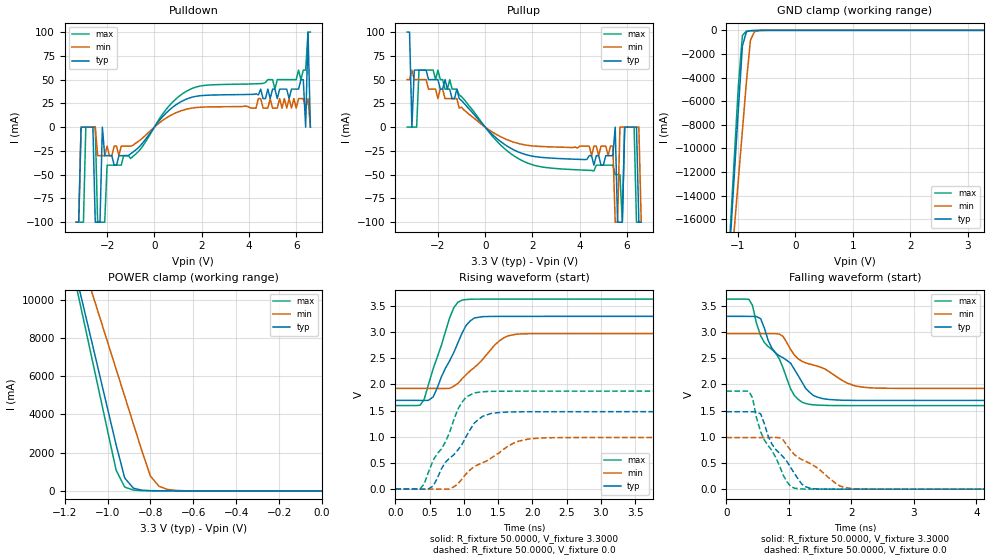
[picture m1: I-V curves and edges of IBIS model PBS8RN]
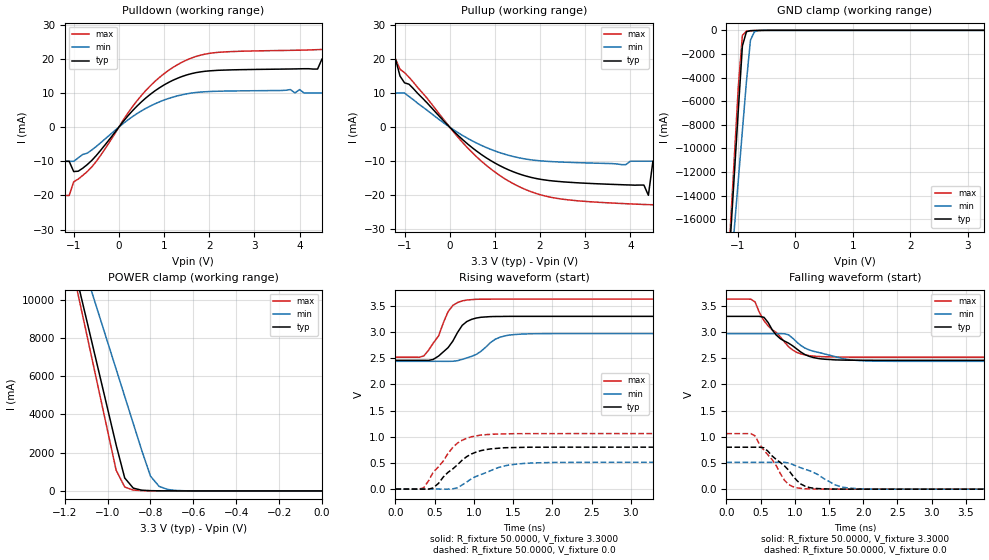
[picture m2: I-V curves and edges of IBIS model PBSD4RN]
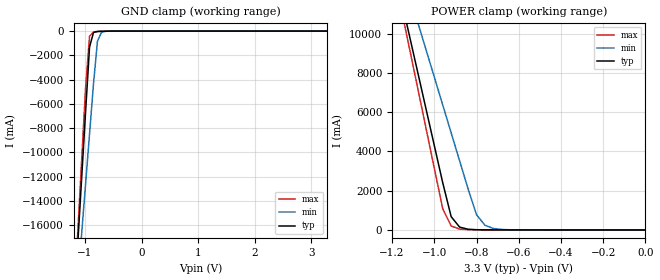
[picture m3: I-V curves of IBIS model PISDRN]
| IBIS file hi3520dv100.ibs
[IBIS ver]   4.0
[File name]   hi3520dv100.ibs
[File Rev]   1.0
[Date]   07/04/2013
[Source]   HISILICON TECHNOLOGIES CO., LTD.
[Notes]   1.Temperatures: typ=25C, min=125C, max=-40C
|Version statement: update ddr io model
|   RRmp rates based on 50 ohm load.
|[Disclaimer]   HISILICON TECHNOLOGIES CO., LTD. hereby grants the
|*   user of this IBIS model a non-exclusive, nontransferable
|*   license to use this IBIS model under the following terms.
|*   The user is granted this license only to use the IBIS model
|*   and is not granted rights to sell, copy (except as needed to
|*   run the IBIS model), rent, lease or sub-license the IBIS
|*   model in whole or in part, or in modified form to anyone. The
|*   User may modify the IBIS model to suit its specific applicati
|*   ons, but rights to derivative works and such modifications sh
|*   all belong to Hisilicon. This IBIS model is provided on an
|*   "ASIS" basis and Hisilicon  makes absolutely no warranty with
|*   respect to the information contained herein. HISILICON DISCLAI
|*   MS AND CUSTOMER WAIVES ALL WARRANTIES, EXPRESS AND IMPLIED, IN
|*   CLUDING WARRANTIES OF MERCHANTABILITY AND FITNESS FOR A PARTIC
|*   ULAR PURPOSE. THE ENTIRE RISK AS TO QUALITY AND PERFORMANCE IS
|*   WITH THE USER ACCORDINGLY, IN NO EVENT SHALL HISILICON BE LIAB
|*   LE FOR ANY DIRECT OR INDIRECT DAMAGES, WHETHER IN CONTRACT OR
|*   TORT, INCLUDING ANY LOST PROFITS OR OTHER INCIDENTAL, CONSEQUEN
|*   TIAL, EXEMPLARY, OR PUNITIVE DAMAGES ARISING OUT OF THE USE OR
|*   APPLICATION OF THE IBIS MODEL. Further, Hisilicon reserves the
|*   right to make changes without notice to any product herein to
|*   improve reliability,fnction, or design. Hisilicon does not convey
|*   any license under patent rights or any other intellectual property
|*   rights, including those of third parties. Hisilicon is not obligated
|*   to provide maintenance or support for the licensed IBIS model.
|*[Copyright]   Copyright 2013,HISILICON TECHNOLOGIES CO., LTD.
|*   all rights reserved
|DDR Model list
|   Component Hi3520Dv100 QFP
[Component]   hi3520d
[Manufacturer]   Hisilicon Technologies, Inc.
[Package]
| variable   min   typ   max
R_pkg   1.29   1.34   1.42
L_pkg   10.17nH   13.24nH   15.23nH
C_pkg   1.59pF   2.09pF   2.43pF
[Pin]  signal_name   model_name   R_pin   L_pin   C_pin
3	DDR_CLK1_P	CMD
4	DDR_CLK1_N	CMD
6	DDR_CKE	CMD
7	DDR_A10	CMD
8	DDR_BA1	CMD
9	DDR_A12	CMD
10	DDR_A4	CMD
12	DDR_A6	CMD
14	DDR_A8	CMD
15	DDR_A11	CMD
16	DDR_A14	CMD
17	DDR_A1	CMD
19	JTAG_EN	PISDRN
20	JTAG_TDO	PBS4RN
21	JTAG_TCK	PBSD4RN
22	JTAG_TMS	PBSU4RN
23	JTAG_TDI	PBSU4RN
25	JTAG_TRSTN	PBSD4RN
27	GPIO1_0	PBCSUD4W
28	GPIO1_1	PBCSUD4W
29	IR_IN	PBCSUD4W
30	SATA_LED_N0	PBCSUD4W
31	SATA_LED_N1	PBCSUD4W
53	SFC_WP_IO2	PBCSUDSL4_LD_PG
55	SFC_CS0N	PBCSUDSL4_LD_PG
57	SFC_DIO	PBCSUDSL4_LD_PG
58	SFC_CLK	PBCSUDSL4_LD_PG
59	SFC_HOLD_IO3	PBCSUDSL4_LD_PG
60	SFC_CS1N	PBCSUDSL4_LD_PG
61	SFC_DOI	PBCSUDSL4_LD_PG
63	WDG_RSTN	PBS4RN
64	RSTN	PISURN
65	SPI_CSN1	PBS4RN
67	SPI_CSN0	PBSU4RN
68	SPI_SCLK	PBCSUDSL4_LD_PG
69	SPI_SDO	PBCSUDSL4_LD_PG
70	SPI_SDI	PBS4RN
72	GPIO1_2	PBS4RN
85	AIO_SD_TX	PBSD4RN
86	AIO_WS_TX	PBCSUDSL4_LD_PG
87	AIO_BCLK_TX	PBCSUDSL4_LD_PG
88	AIO_MCLK	PBCSUDSL4_LD_PG
90	AIO_SD_RX	PBS4RN
91	AIO_WS_RX	PBCSUDSL4_LD_PG
92	AIO_BCLK_RX	PBCSUDSL4_LD_PG
93	VI_ADC_CLK	PBCSUDSL4_LD_PG
94	VIU1_CLK	PBS4RN
96	VIU1_DAT0	PBS4RN
97	VIU1_DAT1	PBS4RN
98	VIU1_DAT2	PBS4RN
99	VIU1_DAT3	PBS4RN
100	VIU1_DAT4	PBS4RN
101	VIU1_DAT5	PBS4RN
102	VIU1_DAT6	PBS4RN
103	VIU1_DAT7	PBS4RN
104	VIU0_CLK	PBS4RN
106	VIU0_DAT0	PBS4RN
107	VIU0_DAT1	PBS4RN
108	VIU0_DAT2	PBS4RN
109	VIU0_DAT3	PBS4RN
111	VIU0_DAT4	PBS4RN
112	VIU0_DAT5	PBS4RN
113	VIU0_DAT6	PBS4RN
114	VIU0_DAT7	PBS4RN
115	I2C_SCL	PBCSUD4W
116	I2C_SDA	PBCSUD4W
129	VGA_HS	PBCSUDSL6_HD_PG
130	VGA_VS	PBCSUDSL6_HD_PG
131	HDMI_HOTPLUG	PBCSUD4W
133	HDMI_SDA	PBCSUD4W
134	HDMI_SCL	PBCSUD4W
135	HDMI_CEC	PBCSUD4W
171	ETH_LINK_LED	PBS4RN
172	ETH_SPD_LED	PBS4RN
173	USB0_OVRCUR	PBS4RN
174	USB0_PWREN	PBS4RN
175	USB1_OVRCUR	PBS4RN
176	USB1_PWREN	PBS4RN
178	GPIO0_7	PBS4RN
179	GPIO0_4	PBS4RN
180	GPIO1_4	PBS4RN
181	GPIO1_3	PBS8RN
182	GPIO0_1	PBS8RN
183	GPIO0_3	PBS8RN
185	GPIO0_2	PBS8RN
186	GPIO0_0	PBS12RN
188	GPIO0_6	PBS4RN
189	GPIO0_5	PBS4RN
190	UART0_RXD	PBCSUD4W
191	UART0_TXD	PBCSUD4W
192	TEST_MODE	PISDRN
193	UART1_RTSN	PBS4RN
194	UART1_RXD	PBSU4RN
196	UART1_CTSN	PBS4RN
198	UART1_TXD	PBS4RN
199	UART2_RXD	PBSU4RN
200	UART2_TXD	PBS4RN
202	DDR_A2	CMD
203	DDR_A13	CMD
204	DDR_A9	CMD
205	DDR_RESET_N	CMD
207	DDR_A7	CMD
208	DDR_A5	CMD
209	DDR_A0	CMD
210	DDR_A3	CMD
213	DDR_BA0	CMD
214	DDR_BA2	CMD
215	DDR_WE_N	CMD
216	DDR_ODT	CMD
218	DDR_CAS_N	CMD
219	DDR_RAS_N	CMD
224	DDR_DQ4	DQ
225	DDR_DQ6	DQ
227	DDR_DQ2	DQ
228	DDR_DQ0	DQ
230	DDR_DM1	DQ
231	DDR_DQ11	DQ
232	DDR_DQ13	DQ
234	DDR_DQ15	DQ
235	DDR_DQ9	DQ
237	DDR_DQS0_P	DQ
238	DDR_DQS0_N	DQ
240	DDR_DQS1_P	DQ
241	DDR_DQS1_N	DQ
243	DDR_DQ12	DQ
244	DDR_DQ8	DQ
246	DDR_DQ14	DQ
247	DDR_DQ10	DQ
249	DDR_DM0	DQ
250	DDR_DQ1	DQ
252	DDR_DQ3	DQ
253	DDR_DQ7	DQ
255	DDR_DQ5	DQ
[Model Selector] PBCSUDSL4_LD_PG
| Model Description
M0_PAD_PBCSUDSL4_LD_PG   when !DS0 & DS1 & !DS2 & !SL
M1_PAD_PBCSUDSL4_LD_PG   when !DS0 & DS1 & !DS2 & SL
M2_PAD_PBCSUDSL4_LD_PG   when !DS0 & DS1 & DS2 & !SL
M3_PAD_PBCSUDSL4_LD_PG   when !DS0 & DS1 & DS2 & SL
M4_PAD_PBCSUDSL4_LD_PG   when DS0 & !DS1 & !DS2 & !SL
M5_PAD_PBCSUDSL4_LD_PG   when DS0 & !DS1 & !DS2 & SL
M6_PAD_PBCSUDSL4_LD_PG   when DS0 & DS1 & DS2 & !SL
M7_PAD_PBCSUDSL4_LD_PG   when DS0 & DS1 & DS2 & SL
[Model Selector] PBCSUDSL6_HD_PG
| Model Description
M0_PAD_PBCSUDSL6_HD_PG   when !DS0 & !DS1 & DS2 & !SL
M1_PAD_PBCSUDSL6_HD_PG   when !DS0 & !DS1 & DS2 & SL
M2_PAD_PBCSUDSL6_HD_PG   when !DS0 & DS1 & !DS2 & !SL
M3_PAD_PBCSUDSL6_HD_PG   when !DS0 & DS1 & !DS2 & SL
M4_PAD_PBCSUDSL6_HD_PG   when !DS0 & DS1 & DS2 & !SL
M5_PAD_PBCSUDSL6_HD_PG   when !DS0 & DS1 & DS2 & SL
M6_PAD_PBCSUDSL6_HD_PG   when DS0 & !DS1 & !DS2 & !SL
M7_PAD_PBCSUDSL6_HD_PG   when DS0 & !DS1 & !DS2 & SL
M8_PAD_PBCSUDSL6_HD_PG   when DS0 & !DS1 & DS2 & !SL
M9_PAD_PBCSUDSL6_HD_PG   when DS0 & !DS1 & DS2 & SL
M10_PAD_PBCSUDSL6_HD_PG   when DS0 & DS1 & !DS2 & !SL
M11_PAD_PBCSUDSL6_HD_PG   when DS0 & DS1 & !DS2 & SL
M12_PAD_PBCSUDSL6_HD_PG   when DS0 & DS1 & DS2 & !SL
M13_PAD_PBCSUDSL6_HD_PG   when DS0 & DS1 & DS2 & SL
[Model Selector]   DQ
DQIO_34ohm_ODT_OFF   "DQ RON34 ODT OFF"
DQIO_46ohm_ODT_OFF   "DQ RON46 ODT OFF"
[Model Selector]   CMD
CMDIO_46ohm   "CMD RON 46ohm"
CMDIO_34ohm   "CMD RON 34ohm"
| Models and submodels in the file (34): PBS4RN (I/O), PBS8RN (I/O), PBS12RN (I/O), PBSD4RN (I/O), PBSU4RN (I/O), PISDRN (Input), PISURN (Input), PBCSUD4W (I/O), M0_PAD_PBCSUDSL4_LD_PG (I/O), M1_PAD_PBCSUDSL4_LD_PG (I/O), M2_PAD_PBCSUDSL4_LD_PG (I/O), M3_PAD_PBCSUDSL4_LD_PG (I/O), M4_PAD_PBCSUDSL4_LD_PG (I/O), M5_PAD_PBCSUDSL4_LD_PG (I/O), M6_PAD_PBCSUDSL4_LD_PG (I/O), M7_PAD_PBCSUDSL4_LD_PG (I/O), M0_PAD_PBCSUDSL6_HD_PG (I/O), M1_PAD_PBCSUDSL6_HD_PG (I/O), M2_PAD_PBCSUDSL6_HD_PG (I/O), M3_PAD_PBCSUDSL6_HD_PG (I/O), M4_PAD_PBCSUDSL6_HD_PG (I/O), M5_PAD_PBCSUDSL6_HD_PG (I/O), M6_PAD_PBCSUDSL6_HD_PG (I/O), M7_PAD_PBCSUDSL6_HD_PG (I/O), M8_PAD_PBCSUDSL6_HD_PG (I/O), M9_PAD_PBCSUDSL6_HD_PG (I/O), M10_PAD_PBCSUDSL6_HD_PG (I/O), M11_PAD_PBCSUDSL6_HD_PG (I/O), M12_PAD_PBCSUDSL6_HD_PG (I/O), M13_PAD_PBCSUDSL6_HD_PG (I/O), CMDIO_46ohm (I/O), CMDIO_34ohm (I/O), DQIO_46ohm_ODT_OFF (I/O), DQIO_34ohm_ODT_OFF (I/O)
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|   Model PBS8RN
[Model]  PBS8RN
Model_type I/O
Polarity   Non-Inverting
Enable   Active-Low
C_comp   5.0000pF   5.0000pF   5.0000pF
[Temperature Range]   25.0000   0.1250k   0.0
[Voltage Range]   3.3000V   2.9700V   3.6300V
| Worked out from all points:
|   slope of the pulldown table from 0 to 0.495 V, typ, clamps not added: 33.4 ohm
|   slope of the pullup table from 0 to 0.495 V, typ, clamps not added: 41.3 ohm
|   GND clamp passes 1 mA (typ) near -0.50 V on its own axis
|   POWER clamp passes 1 mA (typ) near -0.57 V on its own axis
|   rising waveform, R_fixture 50.0000, V_fixture 3.3000: 20-80 % time 339ps typ, 464ps min, 297ps max; typ from 1.7 V to 3.3 V
|   rising waveform, R_fixture 50.0000, V_fixture 0.0: 20-80 % time 473ps typ, 635ps min, 406ps max; typ from 0 V to 1.48 V
|   falling waveform, R_fixture 50.0000, V_fixture 3.3000: 20-80 % time 591ps typ, 796ps min, 530ps max; typ from 3.3 V to 1.7 V
|   falling waveform, R_fixture 50.0000, V_fixture 0.0: 20-80 % time 467ps typ, 662ps min, 415ps max; typ from 1.48 V to 0 V
[Pulldown]
|Voltage   I(typ)   I(min)   I(max)
-3.3V     -100mA     -100mA     -100mA
-3.1V     0A         0A         -100mA
-2.9V     0A         0A         0A
-2.6V     0A         0A         0A
-2.5V     -100mA     0A         0A
-2.4V     -100mA     -30mA      -100mA
-2.1V     -30mA      -30mA      -100mA
-2V       -30mA      -20mA      -40mA
1.1V      26.37mA    16.93mA    33.5mA
6.4V      0A         20mA       60mA
6.5V      100mA      30mA       100mA
6.6V      0A         0A         100mA
[Pullup]
|Voltage   I(typ)   I(min)   I(max)
-3.3V     100mA      50mA       0A
-3.1V     0A         60mA       0A
-2V       50mA       30mA       60mA
5.4V      -30mA      -20mA      -40mA
5.5V      0A         -100mA     -50mA
5.6V      -100mA     -100mA     -50mA
5.8V      -100mA     0A         -100mA
5.9V      0A         0A         0A
6.3V      0A         0A         0A
6.4V      0A         0A         -100mA
6.5V      -100mA     0A         -100mA
6.6V      -100mA     -100mA     -100mA
[GND_clamp]
|Voltage   I(typ)   I(min)   I(max)
-3.3V     -188.8A    -149A      -203.5A
-1.13V    -17.7A     -20.88A    -16.73A
-1.06V    -12.18A    -16.75A    -10.71A
-990mV    -6.66A     -12.62A    -4.685A
-920mV    -1.318A    -8.487A    -426.9mA
-850mV    -117.1mA   -4.353A    -65.45mA
-780mV    -29.52mA   -831.6mA   -33.62mA
-710mV    -15.22mA   -114.8mA   -20.8mA
-640mV    -7.914mA   -19.62mA   -11.59mA
3.28V     446.9pA    7.224uA    523.8pA
[POWER_clamp]
|Voltage   I(typ)   I(min)   I(max)
-3.28V    112.7A     89.03A     121.5A
-1.16V    11.91A     13.49A     11.45A
-1.12V    10.01A     12.06A     9.382A
-1.08V    8.113A     10.64A     7.306A
-1.04V    6.211A     9.22A      5.229A
-960mV    2.407A     6.371A     1.085A
-920mV    677.3mA    4.947A     202.7mA
-880mV    145.9mA    3.523A     44.97mA
-800mV    12.59mA    777mA      9.717mA
-760mV    6.8mA      240.3mA    7.376mA
-640mV    2.311mA    8.823mA    3.102mA
0V        482.7pA    4.346nA    1.741nA
[Ramp]
| variable   typ   min   max
dV/dt_r  0.8874/0.4728n   0.5911/0.6246n   1.1232/0.3981n
dV/dt_f  0.9630/0.5911n   0.6276/0.7860n   1.2204/0.5204n
R_load = 50.0000
[Rising Waveform]
R_fixture= 50.0000
V_fixture= 3.3000
V_fixture_min= 2.9700
V_fixture_max= 3.6300
|time   V(typ)   V(min)   V(max)
0s        1.695V     1.924V     1.596V
360ps     1.694V     1.924V     1.603V
420ps     1.693V     1.924V     1.718V
550ps     1.76V      1.924V     2.298V
790ps     2.448V     1.924V     3.266V
970ps     2.973V     2.103V     3.608V
1.15ns    3.266V     2.321V     3.628V
1.52ns    3.299V     2.834V     3.629V
1.76ns    3.299V     2.958V     3.629V
6ns       3.3V       2.97V      3.63V
[Rising Waveform]
R_fixture= 50.0000
V_fixture= 0.0
|time   V(typ)   V(min)   V(max)
0s        0V         0V         0V
420ps     -1.362mV   35.01uV    100.4mV
550ps     57.62mV    60.15uV    550.6mV
730ps     514mV      -648.3uV   903.3mV
910ps     745.3mV    95.38mV    1.523V
1.15ns    1.26V      431mV      1.835V
1.39ns    1.443V     585.5mV    1.867V
1.76ns    1.475V     901.8mV    1.871V
2ns       1.478V     964.7mV    1.871V
6ns       1.479V     985.1mV    1.872V
[Falling Waveform]
R_fixture= 50.0000
V_fixture= 3.3000
V_fixture_min= 2.9700
V_fixture_max= 3.6300
|time   V(typ)   V(min)   V(max)
0s        3.3V       2.97V      3.63V
360ps     3.299V     2.97V      3.627V
550ps     3.255V     2.97V      2.929V
730ps     2.692V     2.969V     2.666V
850ps     2.545V     2.961V     2.483V
1.09ns    2.286V     2.561V     1.786V
1.27ns    1.923V     2.412V     1.636V
1.52ns    1.735V     2.323V     1.603V
2.18ns    1.695V     1.948V     1.596V
6ns       1.695V     1.924V     1.596V
[Falling Waveform]
R_fixture= 50.0000
V_fixture= 0.0
|time   V(typ)   V(min)   V(max)
0s        1.479V     985.1mV    1.872V
360ps     1.478V     985.1mV    1.871V
420ps     1.479V     985mV      1.742V
550ps     1.437V     985mV      1.093V
610ps     1.246V     985.1mV    936.5mV
850ps     688.3mV    981.4mV    451.5mV
1.09ns    301mV      660.9mV    18.51mV
1.33ns    21.19mV    496.5mV    1.293mV
2ns       212.6uV    12.27mV    76.41uV
6ns       0V         0V         0V
|   Model PBSD4RN
[Model]  PBSD4RN
Model_type I/O
Polarity   Non-Inverting
Enable   Active-Low
C_comp   5.0000pF   5.0000pF   5.0000pF
[Temperature Range]   25.0000   0.1250k   0.0
[Voltage Range]   3.3000V   2.9700V   3.6300V
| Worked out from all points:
|   slope of the pulldown table from 0 to 0.495 V, typ, clamps not added: 67.5 ohm
|   slope of the pullup table from 0 to 0.495 V, typ, clamps not added: 82.6 ohm
|   GND clamp passes 1 mA (typ) near -0.50 V on its own axis
|   POWER clamp passes 1 mA (typ) near -0.56 V on its own axis
|   rising waveform, R_fixture 50.0000, V_fixture 3.3000: 20-80 % time 239ps typ, 287ps min, 219ps max; typ from 2.46 V to 3.3 V
|   rising waveform, R_fixture 50.0000, V_fixture 0.0: 20-80 % time 358ps typ, 434ps min, 328ps max; typ from 0 V to 0.8 V
|   falling waveform, R_fixture 50.0000, V_fixture 3.3000: 20-80 % time 446ps typ, 559ps min, 422ps max; typ from 3.3 V to 2.46 V
|   falling waveform, R_fixture 50.0000, V_fixture 0.0: 20-80 % time 370ps typ, 475ps min, 338ps max; typ from 0.8 V to 0 V
[Pulldown]
|Voltage   I(typ)   I(min)   I(max)
-3.3V     -100mA     -100mA     -100mA
-3.2V     -100mA     0A         -100mA
-3.1V     0A         0A         0A
-2.5V     0A         0A         0A
-2.4V     -100mA     -20mA      0A
-2.3V     -100mA     -20mA      -100mA
-2.2V     0A         -10mA      0A
-1.1V     -10mA      -10mA      -20mA
1.9V      16.34mA    10.35mA    21.35mA
6.3V      20mA       10mA       30mA
6.4V      0A         10mA       30mA
6.6V      0A         0A         0A
[Pullup]
|Voltage   I(typ)   I(min)   I(max)
-3.3V     0A         30mA       100mA
-3.2V     100mA      30mA       0A
-3.1V     0A         20mA       0A
-1.9V     30mA       20mA       20mA
1.6V      -14.01mA   -9.172mA   -17.86mA
5.5V      0A         -100mA     -30mA
5.6V      -100mA     0A         -30mA
5.8V      0A         0A         -100mA
5.9V      0A         0A         0A
6.4V      0A         0A         0A
6.5V      -100mA     0A         0A
6.6V      -100mA     -100mA     -100mA
[GND_clamp]
|Voltage   I(typ)   I(min)   I(max)
-3.3V     -188.8A    -149A      -203.5A
-1.13V    -17.7A     -20.88A    -16.73A
-1.06V    -12.18A    -16.75A    -10.71A
-990mV    -6.66A     -12.62A    -4.685A
-920mV    -1.318A    -8.488A    -427mA
-850mV    -117.2mA   -4.353A    -65.52mA
-780mV    -29.58mA   -831.8mA   -33.68mA
-710mV    -15.26mA   -114.9mA   -20.85mA
-640mV    -7.953mA   -19.65mA   -11.64mA
3.28V     77.22uA    49.95uA    107uA
[POWER_clamp]
|Voltage   I(typ)   I(min)   I(max)
-3.28V    112.7A     89.03A     121.5A
-1.16V    11.91A     13.49A     11.45A
-1.12V    10.01A     12.06A     9.381A
-1.08V    8.112A     10.64A     7.305A
-1.04V    6.21A      9.219A     5.229A
-960mV    2.407A     6.371A     1.085A
-920mV    677.2mA    4.947A     202.6mA
-880mV    145.8mA    3.523A     44.98mA
-800mV    12.61mA    776.9mA    9.764mA
-760mV    6.837mA    240.2mA    7.433mA
-640mV    2.372mA    8.843mA    3.187mA
0V        77.22uA    42.75uA    107.2uA
[Ramp]
| variable   typ   min   max
dV/dt_r  0.4802/0.3581n   0.3067/0.4339n   0.6360/0.3176n
dV/dt_f  0.5034/0.4462n   0.3174/0.5492n   0.6654/0.4119n
R_load = 50.0000
[Rising Waveform]
R_fixture= 50.0000
V_fixture= 3.3000
V_fixture_min= 2.9700
V_fixture_max= 3.6300
|time   V(typ)   V(min)   V(max)
0s        2.458V     2.439V     2.518V
360ps     2.458V     2.439V     2.54V
550ps     2.54V      2.439V     2.926V
670ps     2.7V       2.438V     3.386V
730ps     2.823V     2.44V      3.504V
850ps     3.125V     2.476V     3.592V
910ps     3.199V     2.504V     3.609V
1.27ns    3.294V     2.859V     3.626V
1.58ns    3.297V     2.956V     3.627V
6ns       3.297V     2.968V     3.627V
[Rising Waveform]
R_fixture= 50.0000
V_fixture= 0.0
|time   V(typ)   V(min)   V(max)
0s        0V         0V         0V
360ps     -269.9uV   9.689uV    27mV
480ps     22.38mV    54.65uV    321mV
670ps     320.4mV    -210.3uV   683mV
790ps     464.8mV    25.64mV    879.1mV
910ps     621.9mV    138.4mV    971.5mV
1.09ns    734.9mV    279mV      1.032V
1.39ns    789.5mV    442.9mV    1.054V
1.76ns    799.3mV    500.1mV    1.059V
6ns       800.4mV    511.1mV    1.06V
[Falling Waveform]
R_fixture= 50.0000
V_fixture= 3.3000
V_fixture_min= 2.9700
V_fixture_max= 3.6300
|time   V(typ)   V(min)   V(max)
0s        3.297V     2.968V     3.627V
360ps     3.297V     2.968V     3.624V
420ps     3.297V     2.968V     3.571V
550ps     3.279V     2.968V     3.214V
730ps     2.939V     2.968V     2.99V
910ps     2.785V     2.944V     2.716V
1.03ns    2.674V     2.805V     2.609V
1.21ns    2.535V     2.657V     2.547V
2ns       2.459V     2.449V     2.518V
6ns       2.458V     2.439V     2.518V
[Falling Waveform]
R_fixture= 50.0000
V_fixture= 0.0
|time   V(typ)   V(min)   V(max)
0s        800.4mV    511.1mV    1.06V
420ps     800.7mV    511.1mV    1.015V
550ps     789.1mV    511mV      742.2mV
670ps     632.8mV    511.4mV    561.9mV
850ps     443mV      511.8mV    168.4mV
1.09ns    96.81mV    406.6mV    14.72mV
1.27ns    18.74mV    321.3mV    3.244mV
1.58ns    2.004mV    86.88mV    366.7uV
1.94ns    139.3uV    7.551mV    127.6uV
6ns       0V         593.9nV    0V
|   Model PISDRN
[Model]  PISDRN
Model_type Input
Polarity   Non-Inverting
C_comp   5.0000pF   5.0000pF   5.0000pF
[Temperature Range]   25.0000   0.1250k   0.0
[Voltage Range]   3.3000V   2.9700V   3.6300V
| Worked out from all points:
|   GND clamp passes 1 mA (typ) near -0.50 V on its own axis
|   POWER clamp passes 1 mA (typ) near -0.56 V on its own axis
[GND_clamp]
|Voltage   I(typ)   I(min)   I(max)
-3.3V     -188.8A    -149A      -203.5A
-1.13V    -17.7A     -20.88A    -16.73A
-1.06V    -12.18A    -16.75A    -10.71A
-990mV    -6.66A     -12.62A    -4.685A
-920mV    -1.318A    -8.488A    -427mA
-850mV    -117.2mA   -4.353A    -65.52mA
-780mV    -29.58mA   -831.8mA   -33.68mA
-710mV    -15.26mA   -114.9mA   -20.85mA
-640mV    -7.953mA   -19.65mA   -11.64mA
3.28V     77.22uA    49.95uA    107uA
[POWER_clamp]
|Voltage   I(typ)   I(min)   I(max)
-3.28V    112.7A     89.03A     121.5A
-1.16V    11.91A     13.49A     11.45A
-1.12V    10.01A     12.06A     9.381A
-1.08V    8.112A     10.64A     7.305A
-1.04V    6.21A      9.219A     5.229A
-960mV    2.407A     6.371A     1.085A
-920mV    677.2mA    4.947A     202.6mA
-880mV    145.8mA    3.523A     44.98mA
-800mV    12.61mA    776.9mA    9.764mA
-760mV    6.837mA    240.2mA    7.433mA
-640mV    2.372mA    8.843mA    3.187mA
0V        77.22uA    42.75uA    107.2uA
